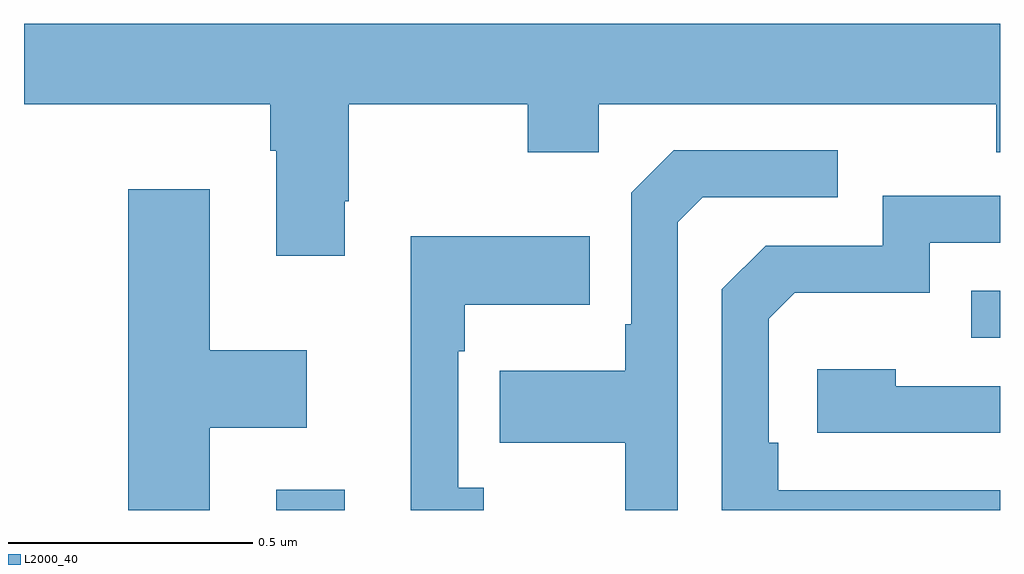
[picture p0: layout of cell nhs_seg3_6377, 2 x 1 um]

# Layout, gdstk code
import gdstk
lib = gdstk.Library(unit=1e-6, precision=1e-09)
def R(c, l, rs):  # rectangles x0, y0, x1, y1
    for r in rs: c.add(gdstk.rectangle(r[:2], r[2:], *l))
def P(c, l, *ps):  # polygons
    for p in ps: c.add(gdstk.Polygon(p, *l))
L2000_40 = (2000, 40)

nhs_seg3_6377 = lib.new_cell('nhs_seg3_6377')
R(nhs_seg3_6377, L2000_40, [(190.517,717.4,190.657,717.442), (191.941,717.753,192,717.849)])
P(nhs_seg3_6377, L2000_40, [(190.657,718.033),(190.665,718.033),(190.665,718.232),(191.032,718.232),(191.032,718.133),(191.178,718.133),(191.178,718.232),(191.992,718.232),(191.992,718.133),(192,718.133),(192,718.396),(190,718.396),(190,718.232),(190.505,718.232),(190.505,718.136),(190.517,718.136),(190.517,717.921),(190.657,717.921)],
  [(191.34,717.99),(191.391,718.041),(191.668,718.041),(191.668,718.137),(191.331,718.137),(191.244,718.05),(191.244,717.781),(191.232,717.781),(191.232,717.685),(190.975,717.685),(190.975,717.538),(191.232,717.538),(191.232,717.4),(191.34,717.4)],
  [(190.381,717.569),(190.579,717.569),(190.579,717.727),(190.381,717.727),(190.381,718.057),(190.214,718.057),(190.214,717.4),(190.381,717.4)],
  [(192,717.441),(191.546,717.441),(191.546,717.538),(191.526,717.538),(191.526,717.792),(191.579,717.845),(191.856,717.845),(191.856,717.948),(192,717.948),(192,718.044),(191.76,718.044),(191.76,717.942),(191.52,717.942),(191.43,717.852),(191.43,717.4),(192,717.4)],
  [(190.942,717.446),(190.89,717.446),(190.89,717.725),(190.903,717.725),(190.903,717.821),(191.159,717.821),(191.159,717.961),(190.793,717.961),(190.793,717.4),(190.942,717.4)],
  [(192,717.654),(191.786,717.654),(191.786,717.688),(191.625,717.688),(191.625,717.558),(192,717.558)])

lib.write_gds('nhs_seg3_6377.gds')
